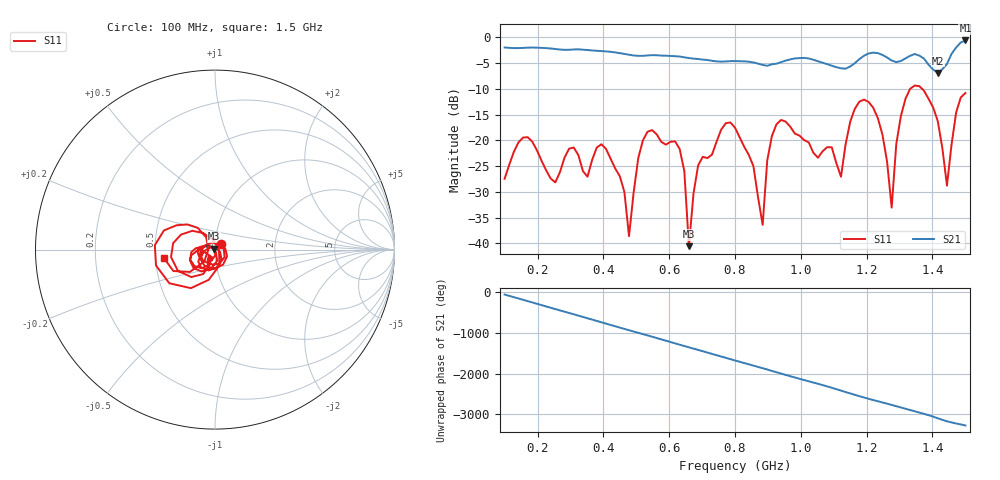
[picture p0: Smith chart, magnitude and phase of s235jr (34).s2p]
! NanoVNA-App
! Date: 2025-09-25 15:04:25
! Start: 100MHz Stop: 1,5GHz Points: 101
! S-Parameter data: F S11 S21 S12 S22
# Hz S RI R 50
!  Frequency  S11_Real  S11_Imag  S21_Real  S21_Imag  S12_Real  S12_Imag  S22_Real  S22_Imag
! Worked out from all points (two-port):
!   101 points, 100 MHz to 1.5 GHz, reference 50 ohm
!   highest |S21| = -0.60 dB at 1.5 GHz (marker M1); lowest = -6.9 dB at 1.416 GHz (marker M2)
!   |S21| within 3 dB of the highest: start of sweep to 600 MHz; 1.191 GHz to 1.253 GHz (62.05 MHz wide, 5.08 % of centre)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
!   lowest |S11| = -40.6 dB at 660 MHz (marker M3), VSWR 1.02, Z = 49.3 + j0.554 ohm
!   |S11| at or under -10 dB: start of sweep to 1.332 GHz; 1.368 GHz to end of sweep
!   S12 and S22 are empty: the file has one direction only
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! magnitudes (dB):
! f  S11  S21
! 100 MHz  -27.5  -2.0
! 156 MHz  -19.5  -2.0
! 338 MHz  -26.0  -2.4
! 408 MHz  -21.7  -2.7
! 478 MHz  -38.6  -3.4
! 520 MHz  -20.1  -3.6
! 576 MHz  -20.3  -3.5
! 632 MHz  -21.7  -3.7
! 660 MHz  -40.6  -4.0
! 688 MHz  -24.9  -4.2
! 800 MHz  -17.5  -4.6
! 884 MHz  -36.4  -5.3
! 926 MHz  -16.9  -5.1
! 1.038 GHz  -22.4  -4.3
! 1.122 GHz  -27.1  -6.0
! 1.206 GHz  -12.5  -3.1
! 1.276 GHz  -33.1  -4.5
! 1.29 GHz  -20.7  -4.8
! 1.332 GHz  -10.0  -3.6
! 1.416 GHz  -16.2  -6.9
! 1.444 GHz  -28.8  -5.2
! 1.5 GHz  -10.8  -0.6
